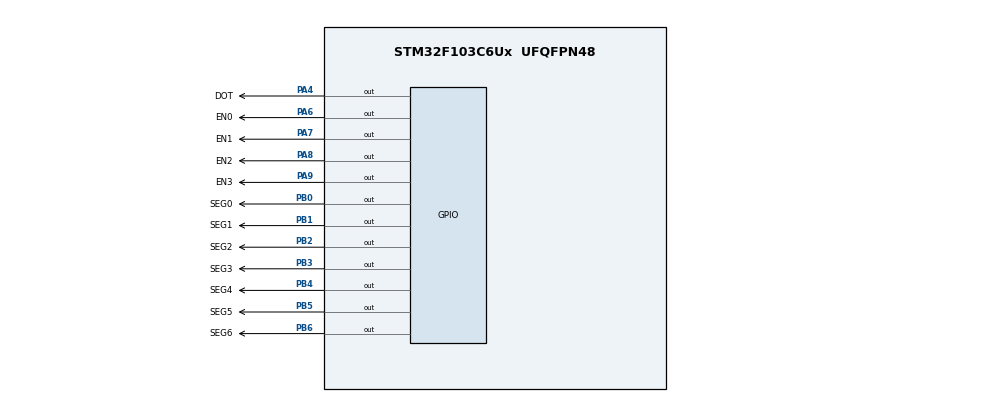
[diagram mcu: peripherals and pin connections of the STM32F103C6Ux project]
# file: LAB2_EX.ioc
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Mcu.Family=STM32F1
Mcu.Name=STM32F103C6Ux
Mcu.Package=UFQFPN48
NVIC.PriorityGroup=NVIC_PRIORITYGROUP_4
NVIC.TIM2_IRQn=true\:0\:0\:false\:false\:true\:true\:true
PA4.GPIO_Label=DOT
PA4.Signal=GPIO_Output
PA6.GPIO_Label=EN0
PA6.Signal=GPIO_Output
PA7.GPIO_Label=EN1
PA7.Signal=GPIO_Output
PA8.GPIO_Label=EN2
PA8.Signal=GPIO_Output
PA9.GPIO_Label=EN3
PA9.Signal=GPIO_Output
PB0.GPIO_Label=SEG0
PB0.Signal=GPIO_Output
PB1.GPIO_Label=SEG1
PB1.Signal=GPIO_Output
PB2.GPIO_Label=SEG2
PB2.Signal=GPIO_Output
PB3.GPIO_Label=SEG3
PB3.Signal=GPIO_Output
PB4.GPIO_Label=SEG4
PB4.Signal=GPIO_Output
PB5.GPIO_Label=SEG5
PB5.Signal=GPIO_Output
PB6.GPIO_Label=SEG6
PB6.Signal=GPIO_Output
ProjectManager.HeapSize=0x200
ProjectManager.StackSize=0x400
ProjectManager.TargetToolchain=STM32CubeIDE
RCC.APB1Freq_Value=8000000
RCC.APB2Freq_Value=8000000
TIM2.Period=9
TIM2.Prescaler=7999
VP_SYS_VS_ND.Mode=No_Debug
VP_TIM2_VS_ClockSourceINT.Mode=Internal
board=custom

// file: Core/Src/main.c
/* USER CODE BEGIN Header */
/**
  ******************************************************************************
  * @file           : main.c
  * @brief          : Main program body
  ******************************************************************************
  * @attention
  *
  * <h2><center>&copy; Copyright (c) 2023 STMicroelectronics.
  * All rights reserved.</center></h2>
  *
  * This software component is licensed by ST under BSD 3-Clause license,
  * the "License"; You may not use this file except in compliance with the
  * License. You may obtain a copy of the License at:
  *                        opensource.org/licenses/BSD-3-Clause
  *
  ******************************************************************************
  */
/* USER CODE END Header */
#include "main.h"
#include "software_timer.h"

TIM_HandleTypeDef htim2;

void SystemClock_Config(void);
static void MX_TIM2_Init(void);
static void MX_GPIO_Init(void);

/* USER CODE BEGIN 0 */
void display7SEG(int num)
{
	if(num==1)
	{
		HAL_GPIO_WritePin(GPIOB, SEG0_Pin, 1);
		HAL_GPIO_WritePin(GPIOB, SEG1_Pin, 0);
		HAL_GPIO_WritePin(GPIOB, SEG2_Pin, 0);
		HAL_GPIO_WritePin(GPIOB, SEG3_Pin, 1);
		HAL_GPIO_WritePin(GPIOB, SEG4_Pin, 1);
		HAL_GPIO_WritePin(GPIOB, SEG5_Pin, 1);
		HAL_GPIO_WritePin(GPIOB, SEG6_Pin, 1);
	}
	if(num==2)
	{
		HAL_GPIO_WritePin(GPIOB, SEG0_Pin, 0);
		HAL_GPIO_WritePin(GPIOB, SEG1_Pin, 0);
		HAL_GPIO_WritePin(GPIOB, SEG2_Pin, 1);
		HAL_GPIO_WritePin(GPIOB, SEG3_Pin, 0);
		HAL_GPIO_WritePin(GPIOB, SEG4_Pin, 0);
		HAL_GPIO_WritePin(GPIOB, SEG5_Pin, 1);
		HAL_GPIO_WritePin(GPIOB, SEG6_Pin, 0);
	}
	if(num==3)
	{
		HAL_GPIO_WritePin(GPIOB, SEG0_Pin, 0);
		HAL_GPIO_WritePin(GPIOB, SEG1_Pin, 0);
		HAL_GPIO_WritePin(GPIOB, SEG2_Pin, 0);
		HAL_GPIO_WritePin(GPIOB, SEG3_Pin, 0);
		HAL_GPIO_WritePin(GPIOB, SEG4_Pin, 1);
		HAL_GPIO_WritePin(GPIOB, SEG5_Pin, 1);
		HAL_GPIO_WritePin(GPIOB, SEG6_Pin, 0);
	}
	if(num==4)
	{
		HAL_GPIO_WritePin(GPIOB, SEG0_Pin, 1);
		HAL_GPIO_WritePin(GPIOB, SEG1_Pin, 0);
		HAL_GPIO_WritePin(GPIOB, SEG2_Pin, 0);
		HAL_GPIO_WritePin(GPIOB, SEG3_Pin, 1);
		HAL_GPIO_WritePin(GPIOB, SEG4_Pin, 1);
		HAL_GPIO_WritePin(GPIOB, SEG5_Pin, 0);
		HAL_GPIO_WritePin(GPIOB, SEG6_Pin, 0);
	}
	if(num==5)
	{
		HAL_GPIO_WritePin(GPIOB, SEG0_Pin, 0);
		HAL_GPIO_WritePin(GPIOB, SEG1_Pin, 1);
		HAL_GPIO_WritePin(GPIOB, SEG2_Pin, 0);
		HAL_GPIO_WritePin(GPIOB, SEG3_Pin, 0);
		HAL_GPIO_WritePin(GPIOB, SEG4_Pin, 1);
		HAL_GPIO_WritePin(GPIOB, SEG5_Pin, 0);
		HAL_GPIO_WritePin(GPIOB, SEG6_Pin, 0);
	}
	if(num==6)
	{
		HAL_GPIO_WritePin(GPIOB, SEG0_Pin, 0);
		HAL_GPIO_WritePin(GPIOB, SEG1_Pin, 1);
		HAL_GPIO_WritePin(GPIOB, SEG2_Pin, 0);
		HAL_GPIO_WritePin(GPIOB, SEG3_Pin, 0);
		HAL_GPIO_WritePin(GPIOB, SEG4_Pin, 0);
		HAL_GPIO_WritePin(GPIOB, SEG5_Pin, 0);
		HAL_GPIO_WritePin(GPIOB, SEG6_Pin, 0);
	}
	if(num==7)
	{
		HAL_GPIO_WritePin(GPIOB, SEG0_Pin, 0);
		HAL_GPIO_WritePin(GPIOB, SEG1_Pin, 0);
		HAL_GPIO_WritePin(GPIOB, SEG2_Pin, 0);
		HAL_GPIO_WritePin(GPIOB, SEG3_Pin, 1);
		HAL_GPIO_WritePin(GPIOB, SEG4_Pin, 1);
		HAL_GPIO_WritePin(GPIOB, SEG5_Pin, 1);
		HAL_GPIO_WritePin(GPIOB, SEG6_Pin, 1);
	}
	if(num==8)
	{
		HAL_GPIO_WritePin(GPIOB, SEG0_Pin, 0);
		HAL_GPIO_WritePin(GPIOB, SEG1_Pin, 0);
		HAL_GPIO_WritePin(GPIOB, SEG2_Pin, 0);
		HAL_GPIO_WritePin(GPIOB, SEG3_Pin, 0);
		HAL_GPIO_WritePin(GPIOB, SEG4_Pin, 0);
		HAL_GPIO_WritePin(GPIOB, SEG5_Pin, 0);
		HAL_GPIO_WritePin(GPIOB, SEG6_Pin, 0);
	}
	if(num==9)
	{
		HAL_GPIO_WritePin(GPIOB, SEG0_Pin, 0);
		HAL_GPIO_WritePin(GPIOB, SEG1_Pin, 0);
		HAL_GPIO_WritePin(GPIOB, SEG2_Pin, 0);
		HAL_GPIO_WritePin(GPIOB, SEG3_Pin, 0);
		HAL_GPIO_WritePin(GPIOB, SEG4_Pin, 1);
		HAL_GPIO_WritePin(GPIOB, SEG5_Pin, 0);
		HAL_GPIO_WritePin(GPIOB, SEG6_Pin, 0);
	}
	if(num==0)
	{
		HAL_GPIO_WritePin(GPIOB, SEG0_Pin, 0);
		HAL_GPIO_WritePin(GPIOB, SEG1_Pin, 0);
		HAL_GPIO_WritePin(GPIOB, SEG2_Pin, 0);
		HAL_GPIO_WritePin(GPIOB, SEG3_Pin, 0);
		HAL_GPIO_WritePin(GPIOB, SEG4_Pin, 0);
		HAL_GPIO_WritePin(GPIOB, SEG5_Pin, 0);
		HAL_GPIO_WritePin(GPIOB, SEG6_Pin, 1);
	}
}
int led_buffer [4] = {1,5,1,7};
void updateClockBuffer (int minute, int hour)
{
	 led_buffer[0] = hour/10;
	 led_buffer[1] = hour%10;
	 led_buffer[2] = minute/10;
	 led_buffer[3] = minute%10;
}
/* USER CODE END 0 */

int main(void)
{

  /* MCU Configuration--------------------------------------------------------*/

  /* Reset of all peripherals, Initializes the Flash interface and the Systick. */
  HAL_Init();

  /* Configure the system clock */
  SystemClock_Config();

  /* Initialize all configured peripherals */
  MX_TIM2_Init();
  MX_GPIO_Init();
  /* USER CODE BEGIN 2 */
  HAL_TIM_Base_Start_IT (& htim2 );
  /* USER CODE END 2 */

  /* Infinite loop */
  /* USER CODE BEGIN WHILE */
  int hour = 15, minute = 17, second = 50;
  int index = 0;
  setTimer1(250);
  setTimer2(1000);
  while (1)
  {
    /* USER CODE END WHILE */
	if(timer1_flag == 1)
	{
		switch ( index )
		{
		  		case 0:
		  			// Display the first 7 SEG with led_buffer [0]
		  			display7SEG(led_buffer[index]);
		  			HAL_GPIO_WritePin(GPIOA,EN0_Pin,0);
		  			HAL_GPIO_WritePin(GPIOA,EN1_Pin,1);
		  			HAL_GPIO_WritePin(GPIOA,EN2_Pin,1);
		  			HAL_GPIO_WritePin(GPIOA,EN3_Pin,1);
		  		break ;
		  		case 1:
		  			// Display the second 7 SEG with led_buffer [1]
		  			display7SEG(led_buffer[index]);
		  			HAL_GPIO_WritePin(GPIOA,EN0_Pin,1);
		  			HAL_GPIO_WritePin(GPIOA,EN1_Pin,0);
		  			HAL_GPIO_WritePin(GPIOA,EN2_Pin,1);
		  			HAL_GPIO_WritePin(GPIOA,EN3_Pin,1);
		  		break ;
		  		case 2:
		  			// Display the third 7 SEG with led_buffer [2]
		  			display7SEG(led_buffer[index]);
		  			HAL_GPIO_WritePin(GPIOA,EN0_Pin,1);
		  			HAL_GPIO_WritePin(GPIOA,EN1_Pin,1);
		  			HAL_GPIO_WritePin(GPIOA,EN2_Pin,0);
		  			HAL_GPIO_WritePin(GPIOA,EN3_Pin,1);
		  		break ;
		  		case 3:
		  			// Display the forth 7 SEG with led_buffer [3]
		  			display7SEG(led_buffer[index]);
		  			HAL_GPIO_WritePin(GPIOA,EN0_Pin,1);
		  			HAL_GPIO_WritePin(GPIOA,EN1_Pin,1);
		  			HAL_GPIO_WritePin(GPIOA,EN2_Pin,1);
		  			HAL_GPIO_WritePin(GPIOA,EN3_Pin,0);
		  		break ;
		  		default :
		  		break ;
		}
		index++;
	  	if(index >= 4) index = 0;
	  	setTimer1(250);
	 }
	 if(timer2_flag == 1)
	 {
	  		  second ++;
	  		  if ( second >= 60)
	  		  {
	  			  second = 0;
	  			  minute ++;
	  		  }
	  		  if( minute >= 60)
	  		  {
	  			  minute = 0;
	  			  hour ++;
	  		  }
	  		  if( hour >=24)
	  		  {
	  			  hour = 0;
	  		  }
	  		  updateClockBuffer ( minute, hour);
	  		  HAL_GPIO_TogglePin(DOT_GPIO_Port, DOT_Pin);
	  		  setTimer2(1000);
	  }
  }
}

void SystemClock_Config(void)
{
  RCC_OscInitTypeDef RCC_OscInitStruct = {0};
  RCC_ClkInitTypeDef RCC_ClkInitStruct = {0};

  /** Initializes the RCC Oscillators according to the specified parameters
  * in the RCC_OscInitTypeDef structure.
  */
  RCC_OscInitStruct.OscillatorType = RCC_OSCILLATORTYPE_HSI;
  RCC_OscInitStruct.HSIState = RCC_HSI_ON;
  RCC_OscInitStruct.HSICalibrationValue = RCC_HSICALIBRATION_DEFAULT;
  RCC_OscInitStruct.PLL.PLLState = RCC_PLL_NONE;
  if (HAL_RCC_OscConfig(&RCC_OscInitStruct) != HAL_OK)
  {
    Error_Handler();
  }
  /** Initializes the CPU, AHB and APB buses clocks
  */
  RCC_ClkInitStruct.ClockType = RCC_CLOCKTYPE_HCLK|RCC_CLOCKTYPE_SYSCLK
                              |RCC_CLOCKTYPE_PCLK1|RCC_CLOCKTYPE_PCLK2;
  RCC_ClkInitStruct.SYSCLKSource = RCC_SYSCLKSOURCE_HSI;
  RCC_ClkInitStruct.AHBCLKDivider = RCC_SYSCLK_DIV1;
  RCC_ClkInitStruct.APB1CLKDivider = RCC_HCLK_DIV1;
  RCC_ClkInitStruct.APB2CLKDivider = RCC_HCLK_DIV1;

  if (HAL_RCC_ClockConfig(&RCC_ClkInitStruct, FLASH_LATENCY_0) != HAL_OK)
  {
    Error_Handler();
  }
}

static void MX_TIM2_Init(void)
{

  TIM_ClockConfigTypeDef sClockSourceConfig = {0};
  TIM_MasterConfigTypeDef sMasterConfig = {0};

  htim2.Instance = TIM2;
  htim2.Init.Prescaler = 7999;
  htim2.Init.CounterMode = TIM_COUNTERMODE_UP;
  htim2.Init.Period = 9;
  htim2.Init.ClockDivision = TIM_CLOCKDIVISION_DIV1;
  htim2.Init.AutoReloadPreload = TIM_AUTORELOAD_PRELOAD_DISABLE;
  if (HAL_TIM_Base_Init(&htim2) != HAL_OK)
  {
    Error_Handler();
  }
  sClockSourceConfig.ClockSource = TIM_CLOCKSOURCE_INTERNAL;
  if (HAL_TIM_ConfigClockSource(&htim2, &sClockSourceConfig) != HAL_OK)
  {
    Error_Handler();
  }
  sMasterConfig.MasterOutputTrigger = TIM_TRGO_RESET;
  sMasterConfig.MasterSlaveMode = TIM_MASTERSLAVEMODE_DISABLE;
  if (HAL_TIMEx_MasterConfigSynchronization(&htim2, &sMasterConfig) != HAL_OK)
  {
    Error_Handler();
  }

}

static void MX_GPIO_Init(void)
{
  GPIO_InitTypeDef GPIO_InitStruct = {0};

  /* GPIO Ports Clock Enable */
  __HAL_RCC_GPIOA_CLK_ENABLE();
  __HAL_RCC_GPIOB_CLK_ENABLE();

  /*Configure GPIO pin Output Level */
  HAL_GPIO_WritePin(GPIOA, DOT_Pin|EN0_Pin|EN1_Pin|EN2_Pin
                          |EN3_Pin, GPIO_PIN_RESET);

  /*Configure GPIO pin Output Level */
  HAL_GPIO_WritePin(GPIOB, SEG0_Pin|SEG1_Pin|SEG2_Pin|SEG3_Pin
                          |SEG4_Pin|SEG5_Pin|SEG6_Pin, GPIO_PIN_RESET);

  /*Configure GPIO pins : DOT_Pin EN0_Pin EN1_Pin EN2_Pin
                           EN3_Pin */
  GPIO_InitStruct.Pin = DOT_Pin|EN0_Pin|EN1_Pin|EN2_Pin
                          |EN3_Pin;
  GPIO_InitStruct.Mode = GPIO_MODE_OUTPUT_PP;
  GPIO_InitStruct.Pull = GPIO_NOPULL;
  GPIO_InitStruct.Speed = GPIO_SPEED_FREQ_LOW;
  HAL_GPIO_Init(GPIOA, &GPIO_InitStruct);

  /*Configure GPIO pins : SEG0_Pin SEG1_Pin SEG2_Pin SEG3_Pin
                           SEG4_Pin SEG5_Pin SEG6_Pin */
  GPIO_InitStruct.Pin = SEG0_Pin|SEG1_Pin|SEG2_Pin|SEG3_Pin
                          |SEG4_Pin|SEG5_Pin|SEG6_Pin;
  GPIO_InitStruct.Mode = GPIO_MODE_OUTPUT_PP;
  GPIO_InitStruct.Pull = GPIO_NOPULL;
  GPIO_InitStruct.Speed = GPIO_SPEED_FREQ_LOW;
  HAL_GPIO_Init(GPIOB, &GPIO_InitStruct);

}

/* USER CODE BEGIN 4 */
void HAL_TIM_PeriodElapsedCallback ( TIM_HandleTypeDef *htim )
{
	timer_run();
}
/* USER CODE END 4 */

void Error_Handler(void)
{
  __disable_irq();
  while (1)
  {
  }
}

/************************ (C) COPYRIGHT STMicroelectronics *****END OF FILE****/
